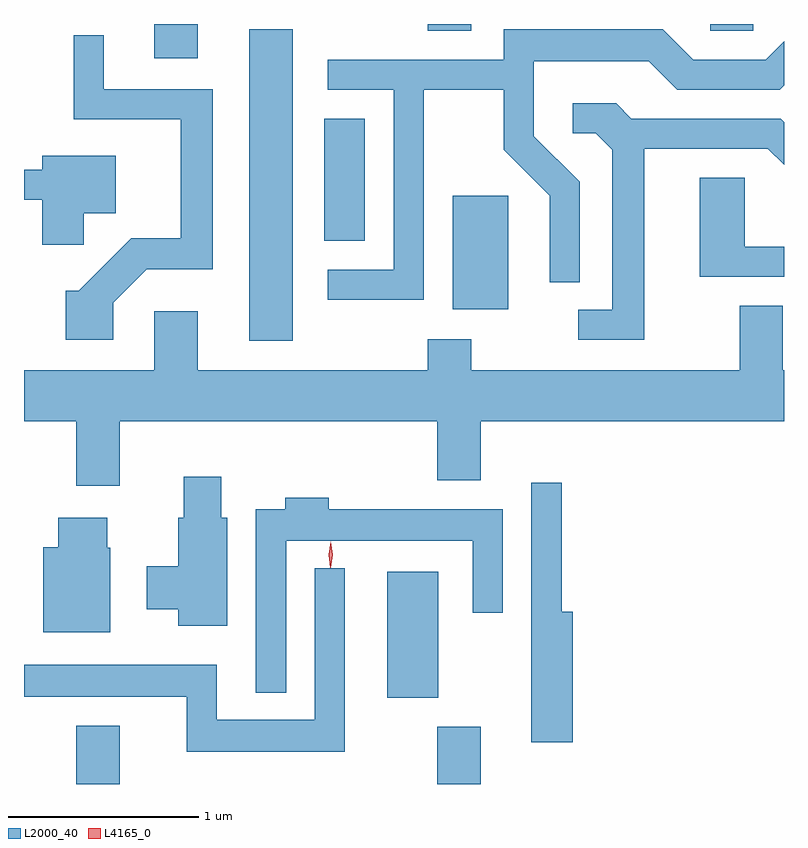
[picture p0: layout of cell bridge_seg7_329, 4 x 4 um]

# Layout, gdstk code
import gdstk
lib = gdstk.Library(unit=1e-6, precision=1e-09)
def R(c, l, rs):  # rectangles x0, y0, x1, y1
    for r in rs: c.add(gdstk.rectangle(r[:2], r[2:], *l))
def P(c, l, *ps):  # polygons
    for p in ps: c.add(gdstk.Polygon(p, *l))
L2000_40 = (2000, 40)
L4165_0 = (4165, 0)

bridge_seg7_329 = lib.new_cell('bridge_seg7_329')
R(bridge_seg7_329, L2000_40, [(1195.231,1776.787,1195.459,1777.094), (1197.131,1776.787,1197.359,1777.089), (1196.866,1777.241,1197.134,1777.904), (1196.141,1779.121,1196.369,1780.759), (1197.211,1779.286,1197.504,1779.884), (1196.536,1779.646,1196.749,1780.289), (1195.641,1780.606,1195.869,1780.787), (1197.081,1780.751,1197.309,1780.787), (1198.566,1780.751,1198.794,1780.787)])
P(bridge_seg7_329, L2000_40, [(1197.059,1780.441),(1197.481,1780.441),(1197.481,1780.124),(1197.721,1779.884),(1197.721,1779.428),(1197.879,1779.428),(1197.879,1779.957),(1197.639,1780.197),(1197.639,1780.591),(1198.244,1780.591),(1198.394,1780.441),(1198.932,1780.441),(1198.955,1780.464),(1198.955,1780.695),(1198.859,1780.599),(1198.477,1780.599),(1198.317,1780.759),(1197.481,1780.759),(1197.481,1780.599),(1196.553,1780.599),(1196.553,1780.441),(1196.901,1780.441),(1196.901,1779.494),(1196.553,1779.494),(1196.553,1779.336),(1197.059,1779.336)],
  [(1195.424,1779.319),(1195.602,1779.496),(1195.949,1779.496),(1195.949,1780.444),(1195.374,1780.444),(1195.374,1780.728),(1195.216,1780.728),(1195.216,1780.286),(1195.781,1780.286),(1195.781,1779.659),(1195.519,1779.659),(1195.244,1779.384),(1195.176,1779.384),(1195.176,1779.126),(1195.424,1779.126)],
  [(1198.219,1780.131),(1198.869,1780.131),(1198.955,1780.045),(1198.955,1780.271),(1198.937,1780.289),(1198.152,1780.289),(1198.072,1780.369),(1197.843,1780.369),(1197.843,1780.211),(1197.964,1780.211),(1198.051,1780.124),(1198.051,1779.284),(1197.873,1779.284),(1197.873,1779.126),(1198.219,1779.126)],
  [(1195.269,1779.791),(1195.439,1779.791),(1195.439,1780.094),(1195.051,1780.094),(1195.051,1780.019),(1194.955,1780.019),(1194.955,1779.861),(1195.051,1779.861),(1195.051,1779.626),(1195.269,1779.626)],
  [(1198.955,1779.614),(1198.749,1779.614),(1198.749,1779.979),(1198.511,1779.979),(1198.511,1779.456),(1198.955,1779.456)],
  [(1195.459,1778.696),(1197.131,1778.696),(1197.131,1778.386),(1197.359,1778.386),(1197.359,1778.696),(1198.955,1778.696),(1198.955,1778.964),(1198.949,1778.964),(1198.949,1779.304),(1198.721,1779.304),(1198.721,1778.964),(1197.309,1778.964),(1197.309,1779.129),(1197.081,1779.129),(1197.081,1778.964),(1195.869,1778.964),(1195.869,1779.274),(1195.641,1779.274),(1195.641,1778.964),(1194.955,1778.964),(1194.955,1778.696),(1195.231,1778.696),(1195.231,1778.356),(1195.459,1778.356)],
  [(1196.024,1778.189),(1195.994,1778.189),(1195.994,1778.404),(1195.796,1778.404),(1195.796,1778.189),(1195.766,1778.189),(1195.766,1777.934),(1195.601,1777.934),(1195.601,1777.706),(1195.766,1777.706),(1195.766,1777.621),(1196.024,1777.621)],
  [(1197.844,1777.694),(1197.784,1777.694),(1197.784,1778.373),(1197.626,1778.373),(1197.626,1777.006),(1197.844,1777.006)],
  [(1196.334,1778.066),(1197.316,1778.066),(1197.316,1777.688),(1197.474,1777.688),(1197.474,1778.234),(1196.559,1778.234),(1196.559,1778.294),(1196.331,1778.294),(1196.331,1778.234),(1196.176,1778.234),(1196.176,1777.268),(1196.334,1777.268)],
  [(1195.409,1778.03),(1195.394,1778.03),(1195.394,1778.189),(1195.136,1778.189),(1195.136,1778.034),(1195.056,1778.034),(1195.056,1777.586),(1195.409,1777.586)],
  [(1196.644,1777.923),(1196.486,1777.923),(1196.486,1777.124),(1195.969,1777.124),(1195.969,1777.414),(1194.955,1777.414),(1194.955,1777.246),(1195.811,1777.246),(1195.811,1776.956),(1196.644,1776.956)])
P(bridge_seg7_329, L4165_0, [(1196.568,1777.924),(1196.56,1777.993),(1196.569,1778.062),(1196.57,1778.063),(1196.57,1778.062),(1196.579,1777.993),(1196.57,1777.924),(1196.569,1777.924)])

lib.write_gds('bridge_seg7_329.gds')
